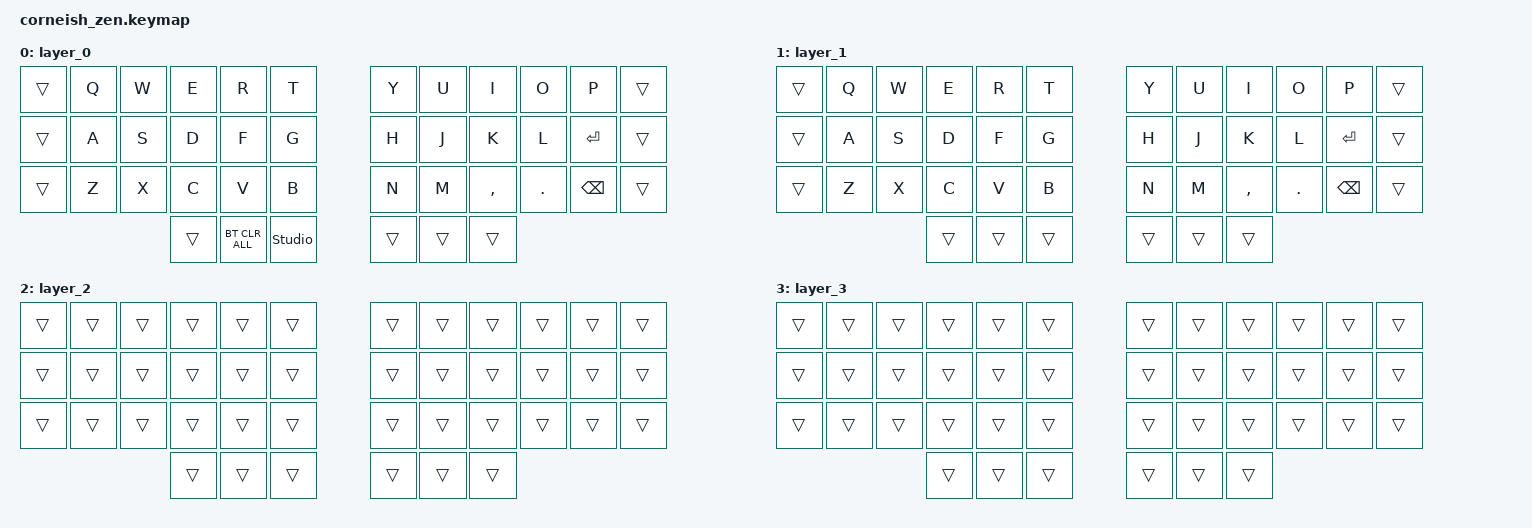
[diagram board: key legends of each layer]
#include <behaviors.dtsi>
#include <dt-bindings/zmk/bt.h>
#include <dt-bindings/zmk/keys.h>
#include "keypos_def/keypos_36keys.h"
#include "includes/3x5.dtsi"

/ {
    chosen { zmk,physical-layout = &foostan_corne_5col_layout; };

    keymap {
        compatible = "zmk,keymap";

        layer_0 {
            bindings = <
&trans  &kp Q  &kp W  &kp E   &kp R           &kp T             &kp Y   &kp U   &kp I      &kp O    &kp P     &trans
&trans  &kp A  &kp S  &kp D   &kp F           &kp G             &kp H   &kp J   &kp K      &kp L    &kp RET   &trans
&trans  &kp Z  &kp X  &kp C   &kp V           &kp B             &kp N   &kp M   &kp COMMA  &kp DOT  &kp BSPC  &trans
                      &trans  &bt BT_CLR_ALL  &studio_unlock    &trans  &trans  &trans
            >;
        };

        layer_1 {
            bindings = <
&trans  &kp Q  &kp W  &kp E   &kp R   &kp T     &kp Y   &kp U   &kp I      &kp O    &kp P     &trans
&trans  &kp A  &kp S  &kp D   &kp F   &kp G     &kp H   &kp J   &kp K      &kp L    &kp RET   &trans
&trans  &kp Z  &kp X  &kp C   &kp V   &kp B     &kp N   &kp M   &kp COMMA  &kp DOT  &kp BSPC  &trans
                      &trans  &trans  &trans    &trans  &trans  &trans
            >;
        };

        layer_2 {
            bindings = <
&trans  &trans  &trans  &trans  &trans  &trans    &trans  &trans  &trans  &trans  &trans  &trans
&trans  &trans  &trans  &trans  &trans  &trans    &trans  &trans  &trans  &trans  &trans  &trans
&trans  &trans  &trans  &trans  &trans  &trans    &trans  &trans  &trans  &trans  &trans  &trans
                        &trans  &trans  &trans    &trans  &trans  &trans
            >;
        };

        layer_3 {
            bindings = <
&trans  &trans  &trans  &trans  &trans  &trans    &trans  &trans  &trans  &trans  &trans  &trans
&trans  &trans  &trans  &trans  &trans  &trans    &trans  &trans  &trans  &trans  &trans  &trans
&trans  &trans  &trans  &trans  &trans  &trans    &trans  &trans  &trans  &trans  &trans  &trans
                        &trans  &trans  &trans    &trans  &trans  &trans
            >;
        };
    };
};
